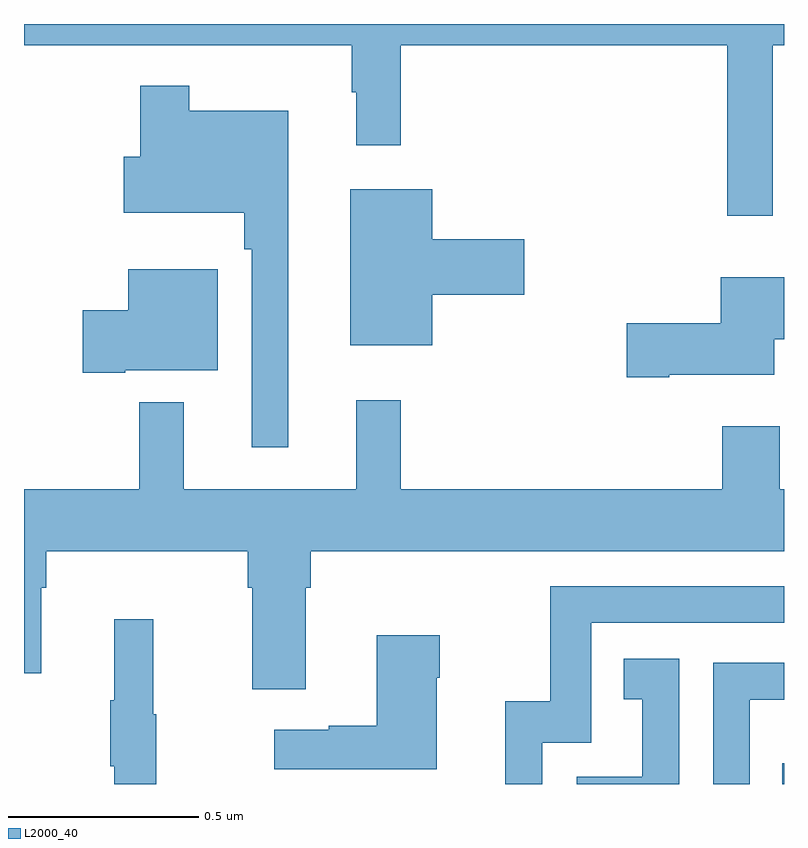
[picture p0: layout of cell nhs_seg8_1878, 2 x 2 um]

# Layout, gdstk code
import gdstk
lib = gdstk.Library(unit=1e-6, precision=1e-09)
def R(c, l, rs):  # rectangles x0, y0, x1, y1
    for r in rs: c.add(gdstk.rectangle(r[:2], r[2:], *l))
def P(c, l, *ps):  # polygons
    for p in ps: c.add(gdstk.Polygon(p, *l))
L2000_40 = (2000, 40)

nhs_seg8_1878 = lib.new_cell('nhs_seg8_1878')
R(nhs_seg8_1878, L2000_40, [(137.995,1103.9,138,1103.955)])
P(nhs_seg8_1878, L2000_40, [(137.971,1105.844),(138,1105.844),(138,1105.9),(136,1105.9),(136,1105.844),(136.863,1105.844),(136.863,1105.721),(136.874,1105.721),(136.874,1105.581),(136.991,1105.581),(136.991,1105.844),(137.85,1105.844),(137.85,1105.395),(137.971,1105.395)],
  [(136.696,1105.672),(136.435,1105.672),(136.435,1105.738),(136.306,1105.738),(136.306,1105.551),(136.262,1105.551),(136.262,1105.403),(136.579,1105.403),(136.579,1105.307),(136.599,1105.307),(136.599,1104.786),(136.696,1104.786)],
  [(137.074,1105.187),(137.317,1105.187),(137.317,1105.334),(137.074,1105.334),(137.074,1105.465),(136.859,1105.465),(136.859,1105.055),(137.074,1105.055)],
  [(136.267,1104.989),(136.51,1104.989),(136.51,1105.255),(136.274,1105.255),(136.274,1105.147),(136.155,1105.147),(136.155,1104.982),(136.267,1104.982)],
  [(137.698,1104.977),(137.974,1104.977),(137.974,1105.07),(138,1105.07),(138,1105.234),(137.834,1105.234),(137.834,1105.112),(137.586,1105.112),(137.586,1104.97),(137.698,1104.97)],
  [(138,1104.676),(137.989,1104.676),(137.989,1104.841),(137.837,1104.841),(137.837,1104.676),(136.991,1104.676),(136.991,1104.91),(136.874,1104.91),(136.874,1104.676),(136.421,1104.676),(136.421,1104.904),(136.303,1104.904),(136.303,1104.676),(136,1104.676),(136,1104.192),(136.045,1104.192),(136.045,1104.416),(136.058,1104.416),(136.058,1104.512),(136.589,1104.512),(136.589,1104.416),(136.601,1104.416),(136.601,1104.15),(136.741,1104.15),(136.741,1104.416),(136.754,1104.416),(136.754,1104.512),(138,1104.512)],
  [(137.364,1104.009),(137.493,1104.009),(137.493,1104.324),(138,1104.324),(138,1104.42),(137.385,1104.42),(137.385,1104.118),(137.267,1104.118),(137.267,1103.9),(137.364,1103.9)],
  [(136.348,1104.084),(136.34,1104.084),(136.34,1104.334),(136.238,1104.334),(136.238,1104.121),(136.227,1104.121),(136.227,1103.947),(136.238,1103.947),(136.238,1103.9),(136.348,1103.9)],
  [(137.086,1104.179),(137.094,1104.179),(137.094,1104.292),(136.928,1104.292),(136.928,1104.053),(136.802,1104.053),(136.802,1104.043),(136.659,1104.043),(136.659,1103.939),(137.086,1103.939)],
  [(137.724,1104.229),(137.578,1104.229),(137.578,1104.123),(137.627,1104.123),(137.627,1103.919),(137.454,1103.919),(137.454,1103.9),(137.724,1103.9)],
  [(137.91,1104.122),(138,1104.122),(138,1104.219),(137.814,1104.219),(137.814,1103.9),(137.91,1103.9)])

lib.write_gds('nhs_seg8_1878.gds')
